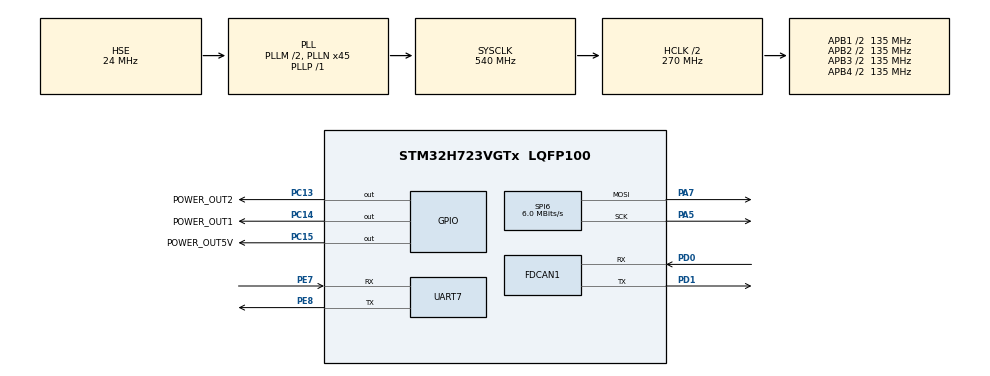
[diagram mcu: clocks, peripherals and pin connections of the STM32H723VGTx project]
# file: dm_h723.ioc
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FDCAN1.CalculateBaudRateNominal=1000000
FDCAN1.CalculateTimeBitNominal=1000
FDCAN1.CalculateTimeQuantumNominal=200.0
FDCAN1.NominalPrescaler=27
FDCAN1.NominalTimeSeg1=2
FDCAN1.NominalTimeSeg2=2
FDCAN1.RxFifo0ElmtsNbr=32
FDCAN1.StdFiltersNbr=1
FDCAN1.TxFifoQueueElmtsNbr=32
Mcu.Family=STM32H7
Mcu.Name=STM32H723VGTx
Mcu.Package=LQFP100
NVIC.FDCAN1_IT0_IRQn=true\:0\:0\:false\:false\:true\:true\:true\:true
NVIC.FDCAN1_IT1_IRQn=true\:0\:0\:false\:false\:true\:true\:true\:true
NVIC.FDCAN_CAL_IRQn=true\:0\:0\:false\:false\:true\:true\:true\:true
NVIC.PriorityGroup=NVIC_PRIORITYGROUP_4
PA10.Signal=USART1_RX
PA13(JTMS/SWDIO).Mode=Serial_Wire
PA13(JTMS/SWDIO).Signal=DEBUG_JTMS-SWDIO
PA14(JTCK/SWCLK).Mode=Serial_Wire
PA14(JTCK/SWCLK).Signal=DEBUG_JTCK-SWCLK
PA5.GPIO_Speed=GPIO_SPEED_FREQ_VERY_HIGH
PA5.Mode=TX_Only_Simplex_Unidirect_Master
PA5.Signal=SPI6_SCK
PA7.GPIO_Speed=GPIO_SPEED_FREQ_VERY_HIGH
PA7.Mode=TX_Only_Simplex_Unidirect_Master
PA7.Signal=SPI6_MOSI
PA9.Signal=USART1_TX
PC13.GPIO_Label=POWER_OUT2
PC13.PinState=GPIO_PIN_SET
PC13.Signal=GPIO_Output
PC14-OSC32_IN.GPIO_Label=POWER_OUT1
PC14-OSC32_IN.PinState=GPIO_PIN_SET
PC14-OSC32_IN.Signal=GPIO_Output
PC15-OSC32_OUT.GPIO_Label=POWER_OUT5V
PC15-OSC32_OUT.PinState=GPIO_PIN_SET
PC15-OSC32_OUT.Signal=GPIO_Output
PD0.Mode=FDCAN_Activate
PD0.Signal=FDCAN1_RX
PD1.Mode=FDCAN_Activate
PD1.Signal=FDCAN1_TX
PE7.Mode=Asynchronous
PE7.Signal=UART7_RX
PE8.Mode=Asynchronous
PE8.Signal=UART7_TX
PH0-OSC_IN.Mode=HSE-External-Oscillator
PH0-OSC_IN.Signal=RCC_OSC_IN
PH1-OSC_OUT.Mode=HSE-External-Oscillator
PH1-OSC_OUT.Signal=RCC_OSC_OUT
ProjectManager.HeapSize=0x200
ProjectManager.StackSize=0x800
ProjectManager.TargetToolchain=Makefile
RCC.ADCFreq_Value=48375000
RCC.APB1Freq_Value=135000000
RCC.APB2Freq_Value=135000000
RCC.APB3Freq_Value=135000000
RCC.APB4Freq_Value=135000000
RCC.CortexFreq_Value=540000000
RCC.D1PPRE=RCC_APB3_DIV2
RCC.D2PPRE1=RCC_APB1_DIV2
RCC.D2PPRE2=RCC_APB2_DIV2
RCC.D3PPRE=RCC_APB4_DIV2
RCC.DIVM1=2
RCC.DIVN1=45
RCC.DIVP1=1
RCC.DIVQ1=4
RCC.HCLKFreq_Value=270000000
RCC.HPRE=RCC_HCLK_DIV2
RCC.HSE_VALUE=24000000
RCC.PLLFRACN=0
RCC.PLLSourceVirtual=RCC_PLLSOURCE_HSE
RCC.SPI6CLockSelection=RCC_SPI6CLKSOURCE_HSE
RCC.SYSCLKFreq_VALUE=540000000
RCC.SYSCLKSource=RCC_SYSCLKSOURCE_PLLCLK
RCC.USBFreq_Value=135000000
SPI6.BaudRatePrescaler=SPI_BAUDRATEPRESCALER_4
SPI6.CLKPhase=SPI_PHASE_2EDGE
SPI6.CLKPolarity=SPI_POLARITY_LOW
SPI6.CalculateBaudRate=6.0 MBits/s
SPI6.DataSize=SPI_DATASIZE_8BIT
SPI6.Direction=SPI_DIRECTION_2LINES_TXONLY
SPI6.Mode=SPI_MODE_MASTER
SPI6.VirtualType=VM_MASTER
VP_MEMORYMAP_VS_MEMORYMAP.Mode=CurAppReg
board=custom

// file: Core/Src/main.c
/* USER CODE BEGIN Header */
/**
  ******************************************************************************
  * @file           : main.c
  * @brief          : Main program body
  ******************************************************************************
  * @attention
  *
  * Copyright (c) 2024 STMicroelectronics.
  * All rights reserved.
  *
  * This software is licensed under terms that can be found in the LICENSE file
  * in the root directory of this software component.
  * If no LICENSE file comes with this software, it is provided AS-IS.
  *
  ******************************************************************************
  */
/* USER CODE END Header */
#include "main.h"
#include "fdcan.h"
#include "memorymap.h"
#include "spi.h"
#include "usart.h"
#include "gpio.h"

/* USER CODE BEGIN Includes */
#include "ws2812.h"
#include "vofa.h"
#include "Caculate.h"
#include "DJI.h"
#include "wtr_can.h"
/* USER CODE END Includes */

void SystemClock_Config(void);

int main(void)
{

  /* MCU Configuration--------------------------------------------------------*/

  /* Reset of all peripherals, Initializes the Flash interface and the Systick. */
  HAL_Init();

  /* Configure the system clock */
  SystemClock_Config();

  /* Initialize all configured peripherals */
  MX_GPIO_Init();
  MX_SPI6_Init();
  MX_UART7_Init();
  MX_FDCAN1_Init();
  /* USER CODE BEGIN 2 */
    WS2812_Ctrl(10,0,0);
    HAL_Delay(800);
    WS2812_Ctrl(0,10,0);
    // fdcan1.FDCAN_Rx_Filter_Init();
    FDCAN1_RX_Filter_Init();
    // fdcan1.FDCAN_Start();
    FDCAN1_Start();
    // fdcan1.FDCAN_Interrupt_Init();
    FDCAN1_Interrupt_Init();
    hDJI[0].motorType = M2006;
    DJI_Init();
  /* USER CODE END 2 */

  /* Infinite loop */
  while (1)
  {

    /* USER CODE BEGIN 3 */
    vofa_start();
    speedServo(800,&hDJI[0]);
    CanTransmit_DJI_1234(hDJI[0].speedPID.output,hDJI[0].speedPID.output,hDJI[0].speedPID.output,hDJI[0].speedPID.output);

      HAL_Delay(1);

  }
  /* USER CODE END 3 */
}

void SystemClock_Config(void)
{
  RCC_OscInitTypeDef RCC_OscInitStruct = {0};
  RCC_ClkInitTypeDef RCC_ClkInitStruct = {0};

  /** Supply configuration update enable
  */
  HAL_PWREx_ConfigSupply(PWR_LDO_SUPPLY);

  /** Configure the main internal regulator output voltage
  */
  __HAL_PWR_VOLTAGESCALING_CONFIG(PWR_REGULATOR_VOLTAGE_SCALE0);

  while(!__HAL_PWR_GET_FLAG(PWR_FLAG_VOSRDY)) {}

  /** Initializes the RCC Oscillators according to the specified parameters
  * in the RCC_OscInitTypeDef structure.
  */
  RCC_OscInitStruct.OscillatorType = RCC_OSCILLATORTYPE_HSE;
  RCC_OscInitStruct.HSEState = RCC_HSE_ON;
  RCC_OscInitStruct.PLL.PLLState = RCC_PLL_ON;
  RCC_OscInitStruct.PLL.PLLSource = RCC_PLLSOURCE_HSE;
  RCC_OscInitStruct.PLL.PLLM = 2;
  RCC_OscInitStruct.PLL.PLLN = 45;
  RCC_OscInitStruct.PLL.PLLP = 1;
  RCC_OscInitStruct.PLL.PLLQ = 4;
  RCC_OscInitStruct.PLL.PLLR = 2;
  RCC_OscInitStruct.PLL.PLLRGE = RCC_PLL1VCIRANGE_3;
  RCC_OscInitStruct.PLL.PLLVCOSEL = RCC_PLL1VCOWIDE;
  RCC_OscInitStruct.PLL.PLLFRACN = 0;
  if (HAL_RCC_OscConfig(&RCC_OscInitStruct) != HAL_OK)
  {
    Error_Handler();
  }

  /** Initializes the CPU, AHB and APB buses clocks
  */
  RCC_ClkInitStruct.ClockType = RCC_CLOCKTYPE_HCLK|RCC_CLOCKTYPE_SYSCLK
                              |RCC_CLOCKTYPE_PCLK1|RCC_CLOCKTYPE_PCLK2
                              |RCC_CLOCKTYPE_D3PCLK1|RCC_CLOCKTYPE_D1PCLK1;
  RCC_ClkInitStruct.SYSCLKSource = RCC_SYSCLKSOURCE_PLLCLK;
  RCC_ClkInitStruct.SYSCLKDivider = RCC_SYSCLK_DIV1;
  RCC_ClkInitStruct.AHBCLKDivider = RCC_HCLK_DIV2;
  RCC_ClkInitStruct.APB3CLKDivider = RCC_APB3_DIV2;
  RCC_ClkInitStruct.APB1CLKDivider = RCC_APB1_DIV2;
  RCC_ClkInitStruct.APB2CLKDivider = RCC_APB2_DIV2;
  RCC_ClkInitStruct.APB4CLKDivider = RCC_APB4_DIV2;

  if (HAL_RCC_ClockConfig(&RCC_ClkInitStruct, FLASH_LATENCY_3) != HAL_OK)
  {
    Error_Handler();
  }
}

void Error_Handler(void)
{
  __disable_irq();
  while (1)
  {
  }
}
